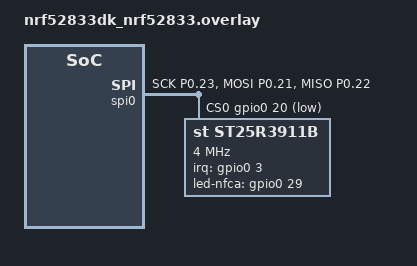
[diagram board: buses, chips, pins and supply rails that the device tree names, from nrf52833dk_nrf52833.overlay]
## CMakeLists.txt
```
#
# Copyright (c) 2020 Nordic Semiconductor ASA
#
# SPDX-License-Identifier: LicenseRef-Nordic-5-Clause
#

cmake_minimum_required(VERSION 3.20.0)

find_package(Zephyr REQUIRED HINTS $ENV{ZEPHYR_BASE})
project(NONE)

FILE(GLOB app_sources src/*.c)
# NORDIC SDK APP START
target_sources(app  PRIVATE ${app_sources})
# NORDIC SDK APP END

# Include configuration headers
zephyr_library_include_directories(configuration)
```

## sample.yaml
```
sample:
  description: Bluetooth Low Energy Central NFC Pairing reference sample
  name: Bluetooth Low Energy Central NFC Pairing reference
tests:
  sample.bluetooth.central_nfc_pairing:
    sysbuild: true
    build_only: true
    integration_platforms:
      - nrf5340dk/nrf5340/cpuapp
    platform_allow:
      - nrf5340dk/nrf5340/cpuapp
    tags:
      - bluetooth
      - ci_build
      - sysbuild
      - ci_samples_bluetooth
```

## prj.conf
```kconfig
#
# Copyright (c) 2020 Nordic Semiconductor
#
# SPDX-License-Identifier: LicenseRef-Nordic-5-Clause
#

CONFIG_NCS_SAMPLES_DEFAULTS=y

# Enable the BLE stack with GATT Client configuration
CONFIG_BT=y
CONFIG_BT_CENTRAL=y
CONFIG_BT_SMP=y
CONFIG_BT_SMP_SC_PAIR_ONLY=y
CONFIG_BT_GATT_CLIENT=y

# Enable the BLE modules from NCS
CONFIG_BT_SCAN=y
CONFIG_BT_SCAN_FILTER_ENABLE=y
CONFIG_BT_SCAN_ADDRESS_CNT=1
CONFIG_BT_DEVICE_NAME="Nordic_NFC_pairing"

CONFIG_BT_DIS=y
CONFIG_BT_DIS_MANUF_NAME=y
CONFIG_BT_DIS_MANUF_NAME_STR="NordicSemiconductor"
CONFIG_BT_DIS_PNP=y
CONFIG_BT_DIS_PNP_VID_SRC=2
CONFIG_BT_DIS_PNP_VID=0x1915
CONFIG_BT_DIS_PNP_PID=0xEEEC
CONFIG_BT_DIS_PNP_VER=0x0100

CONFIG_HEAP_MEM_POOL_SIZE=2048
CONFIG_SPI=y

CONFIG_ST25R3911B_LIB=y

#Condif NFC modules
CONFIG_NFC_NDEF=y
CONFIG_NFC_NDEF_RECORD=y
CONFIG_NFC_NDEF_TEXT_RECORD=y
CONFIG_NFC_NDEF_MSG=y
CONFIG_NFC_NDEF_PARSER=y
CONFIG_NFC_T2T_PARSER=y
CONFIG_NFC_T4T_HL_PROCEDURE=y
CONFIG_NFC_TNEP_POLLER=y
CONFIG_NFC_NDEF_LE_OOB_REC=y
CONFIG_NFC_NDEF_LE_OOB_REC_PARSER=y
CONFIG_NFC_NDEF_CH_MSG=y
CONFIG_NFC_TNEP_CH=y

CONFIG_POLL=y

# This example requires more workqueue stack
CONFIG_SYSTEM_WORKQUEUE_STACK_SIZE=2048

# Enable bonding
CONFIG_BT_SETTINGS=y
CONFIG_FLASH=y
CONFIG_FLASH_PAGE_LAYOUT=y
CONFIG_FLASH_MAP=y

# Config logger
CONFIG_LOG=y

CONFIG_DK_LIBRARY=y

CONFIG_ASSERT=y
CONFIG_HW_STACK_PROTECTION=y
```

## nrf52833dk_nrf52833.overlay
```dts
&spi0 {
	compatible = "nordic,nrf-spi";
	status = "okay";
	cs-gpios = <&gpio0 20 GPIO_ACTIVE_LOW>;

	pinctrl-0 = <&spi0_default_alt>;
	pinctrl-1 = <&spi0_sleep_alt>;
	pinctrl-names = "default", "sleep";

	st25r3911b@0 {
		compatible = "st,st25r3911b";
		reg = <0>;
		spi-max-frequency = <4000000>;
		irq-gpios = <&gpio0 3 GPIO_ACTIVE_HIGH>;
		led-nfca-gpios = <&gpio0 29 GPIO_ACTIVE_HIGH>;
	};
};

&spi1 {
	status = "disabled";
};

&spi2 {
	status = "disabled";
};

&spi3 {
	status = "disabled";
};

&pinctrl {
	spi0_default_alt: spi0_default_alt {
		group1 {
			psels = <NRF_PSEL(SPIM_SCK, 0, 23)>,
				<NRF_PSEL(SPIM_MOSI, 0, 21)>,
				<NRF_PSEL(SPIM_MISO, 0, 22)>;
		};
	};

	spi0_sleep_alt: spi0_sleep_alt {
		group1 {
			psels = <NRF_PSEL(SPIM_SCK, 0, 23)>,
				<NRF_PSEL(SPIM_MOSI, 0, 21)>,
				<NRF_PSEL(SPIM_MISO, 0, 22)>;
			low-power-enable;
		};
	};
};
```

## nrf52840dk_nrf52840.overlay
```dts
&spi0 {
	compatible = "nordic,nrf-spi";
	status = "okay";
	cs-gpios = <&gpio1 12 GPIO_ACTIVE_LOW>;

	pinctrl-0 = <&spi0_default_alt>;
	pinctrl-1 = <&spi0_sleep_alt>;
	pinctrl-names = "default", "sleep";

	st25r3911b@0 {
		compatible = "st,st25r3911b";
		reg = <0>;
		spi-max-frequency = <4000000>;
		irq-gpios = <&gpio0 3 GPIO_ACTIVE_HIGH>;
		led-nfca-gpios = <&gpio0 29 GPIO_ACTIVE_HIGH>;
	};
};

&spi1 {
	status = "disabled";
};

&spi2 {
	status = "disabled";
};

&spi3 {
	status = "disabled";
};

&pinctrl {
	spi0_default_alt: spi0_default_alt {
		group1 {
			psels = <NRF_PSEL(SPIM_SCK, 1, 15)>,
				<NRF_PSEL(SPIM_MOSI, 1, 13)>,
				<NRF_PSEL(SPIM_MISO, 1, 14)>;
		};
	};

	spi0_sleep_alt: spi0_sleep_alt {
		group1 {
			psels = <NRF_PSEL(SPIM_SCK, 1, 15)>,
				<NRF_PSEL(SPIM_MOSI, 1, 13)>,
				<NRF_PSEL(SPIM_MISO, 1, 14)>;
			low-power-enable;
		};
	};
};
```

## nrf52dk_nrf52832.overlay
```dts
&spi0 {
	compatible = "nordic,nrf-spi";
	status = "okay";
	cs-gpios = <&gpio0 22 GPIO_ACTIVE_LOW>;

	pinctrl-0 = <&spi0_default_alt>;
	pinctrl-1 = <&spi0_sleep_alt>;
	pinctrl-names = "default", "sleep";
	st25r3911b@0 {
		label = "ST25R3911B";
		compatible = "st,st25r3911b";
		reg = <0>;
		spi-max-frequency = <4000000>;
		irq-gpios = <&gpio0 3 GPIO_ACTIVE_HIGH>;
		led-nfca-gpios = <&gpio0 29 GPIO_ACTIVE_HIGH>;
	};
};

&spi1 {
	status = "disabled";
};

&spi2 {
	status = "disabled";
};

&pinctrl {
	spi0_default_alt: spi0_default_alt {
		group1 {
			psels = <NRF_PSEL(SPIM_SCK, 0, 25)>,
				<NRF_PSEL(SPIM_MOSI, 0, 23)>,
				<NRF_PSEL(SPIM_MISO, 0, 24)>;
		};
	};

	spi0_sleep_alt: spi0_sleep_alt {
		group1 {
			psels = <NRF_PSEL(SPIM_SCK, 0, 25)>,
				<NRF_PSEL(SPIM_MOSI, 0, 23)>,
				<NRF_PSEL(SPIM_MISO, 0, 24)>;
			low-power-enable;
		};
	};
};
```

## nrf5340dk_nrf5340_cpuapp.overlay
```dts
&spi1 {
	compatible = "nordic,nrf-spim";
	status = "okay";
	cs-gpios = <&gpio1 12 GPIO_ACTIVE_LOW>;

	pinctrl-0 = <&spi1_default_alt>;
	pinctrl-1 = <&spi1_sleep_alt>;
	pinctrl-names = "default", "sleep";
	st25r3911b@0 {
		compatible = "st,st25r3911b";
		reg = <0>;
		spi-max-frequency = <4000000>;
		irq-gpios = <&gpio0 4 GPIO_ACTIVE_HIGH>;
		led-nfca-gpios = <&gpio0 7 GPIO_ACTIVE_HIGH>;
	};
};

&pinctrl {
	spi1_default_alt: spi1_default_alt {
		group1 {
			psels = <NRF_PSEL(SPIM_SCK, 1, 15)>,
				<NRF_PSEL(SPIM_MOSI, 1, 13)>,
				<NRF_PSEL(SPIM_MISO, 1, 14)>;
		};
	};

	spi1_sleep_alt: spi1_sleep_alt {
		group1 {
			psels = <NRF_PSEL(SPIM_SCK, 1, 15)>,
				<NRF_PSEL(SPIM_MOSI, 1, 13)>,
				<NRF_PSEL(SPIM_MISO, 1, 14)>;
			low-power-enable;
		};
	};

};
```

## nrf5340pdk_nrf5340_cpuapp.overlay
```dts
&spi1 {
	compatible = "nordic,nrf-spim";
	status = "okay";
	sck-pin = <47>;
	mosi-pin = <45>;
	miso-pin = <46>;
	cs-gpios = <&gpio1 12 GPIO_ACTIVE_LOW>;

	st25r3911b@0 {
		label = "ST25R3911B";
		compatible = "st,st25r3911b";
		reg = <0>;
		spi-max-frequency = <4000000>;
		irq-gpios = <&gpio0 4 0>;
		led-nfca-gpios = <&gpio0 7 0>;
	};
};
```

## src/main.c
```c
/*
 * Copyright (c) 2020 Nordic Semiconductor ASA
 *
 * SPDX-License-Identifier: LicenseRef-Nordic-5-Clause
 */

/** @file
 *  @brief Nordic Central NFC pairing sample
 */

#include <zephyr/kernel.h>

#include <zephyr/bluetooth/bluetooth.h>
#include <zephyr/bluetooth/hci.h>
#include <zephyr/bluetooth/conn.h>
#include <zephyr/bluetooth/uuid.h>
#include <bluetooth/scan.h>

#include <nfc/tnep/ch.h>
#include <nfc/ndef/le_oob_rec_parser.h>

#include <st25r3911b_nfca.h>

#include <zephyr/settings/settings.h>

#include <dk_buttons_and_leds.h>

#include "nfc_poller.h"

#define NFC_NDEF_LE_OOB_REC_PARSER_BUFF_SIZE 150
#define K_POOL_EVENTS_CNT (ST25R3911B_NFCA_EVENT_CNT + 1)

#define KEY_BOND_REMOVE_MASK DK_BTN4_MSK
#define KEY_NFC_FIELD_ON_MASK DK_BTN3_MSK

static struct k_poll_signal pair_signal;
static struct k_poll_event events[K_POOL_EVENTS_CNT];

static bool use_remote_tk;
static struct bt_le_oob oob_local;
static uint8_t tk_value[NFC_NDEF_LE_OOB_REC_TK_LEN];
static uint8_t remote_tk_value[NFC_NDEF_LE_OOB_REC_TK_LEN];
static struct bt_le_oob oob_remote;
static struct bt_conn *default_conn;

static int tk_value_generate(void)
{
	int err;

	err = bt_rand(tk_value, sizeof(tk_value));
	if (err) {
		printk("Random TK value generation failed: %d\n", err);
	}

	return err;
}

static void pair_key_generate_init(void)
{
	k_poll_signal_init(&pair_signal);
	k_poll_event_init(&events[ST25R3911B_NFCA_EVENT_CNT],
			  K_POLL_TYPE_SIGNAL, K_POLL_MODE_NOTIFY_ONLY,
			  &pair_signal);
}

static int paring_key_generate(void)
{
	int err;

	printk("Generating new pairing keys.\n");

	err = bt_le_oob_get_local(BT_ID_DEFAULT, &oob_local);
	if (err) {
		printk("Error while fetching local OOB data: %d\n", err);
	}

	return tk_value_generate();
}

static void paring_key_process(void)
{
	int err;

	if (events[ST25R3911B_NFCA_EVENT_CNT].state == K_POLL_STATE_SIGNALED) {
		err = paring_key_generate();
		if (err) {
			printk("Pairing key generation error: %d\n", err);
		}

		k_poll_signal_reset(events[ST25R3911B_NFCA_EVENT_CNT].signal);
		events[ST25R3911B_NFCA_EVENT_CNT].state =
						K_POLL_STATE_NOT_READY;
	}
}

static void scan_filter_match(struct bt_scan_device_info *device_info,
			      struct bt_scan_filter_match *filter_match,
			      bool connectable)
{
	char addr[BT_ADDR_LE_STR_LEN];

	bt_addr_le_to_str(device_info->recv_info->addr, addr, sizeof(addr));

	printk("Filters matched. Address: %s connectable: %s\n",
		addr, connectable ? "yes" : "no");
}

static void scan_connecting_error(struct bt_scan_device_info *device_info)
{
	printk("Connecting failed\n");
}

static void scan_connecting(struct bt_scan_device_info *device_info,
			    struct bt_conn *conn)
{
	default_conn = bt_conn_ref(conn);
}

static void scan_filter_no_match(struct bt_scan_device_info *device_info,
				 bool connectable)
{
	int err;
	struct bt_conn *conn = NULL;
	char addr[BT_ADDR_LE_STR_LEN];

	if (device_info->recv_info->adv_type == BT_GAP_ADV_TYPE_ADV_DIRECT_IND) {
		bt_addr_le_to_str(device_info->recv_info->addr, addr, sizeof(addr));
		printk("Direct advertising received from %s\n", addr);
		bt_scan_stop();

		err = bt_conn_le_create(device_info->recv_info->addr,
					BT_CONN_LE_CREATE_CONN,
					device_info->conn_param, &conn);

		if (!err) {
			default_conn = bt_conn_ref(conn);
			bt_conn_unref(conn);
		}
	}
}

BT_SCAN_CB_INIT(scan_cb, scan_filter_match, scan_filter_no_match,
		scan_connecting_error, scan_connecting);


static void connected(struct bt_conn *conn, uint8_t conn_err)
{
	int err;
	char addr[BT_ADDR_LE_STR_LEN];

	bt_addr_le_to_str(bt_conn_get_dst(conn), addr, sizeof(addr));

	if (conn_err) {
		printk("Failed to connect to %s, 0x%02x %s\n", addr, conn_err,
		       bt_hci_err_to_str(conn_err));
		if (conn == default_conn) {
			bt_conn_unref(default_conn);
			default_conn = NULL;

			/* This demo doesn't require active scan */
			err = bt_scan_start(BT_SCAN_TYPE_SCAN_ACTIVE);
			if (err) {
				printk("Scanning failed to start (err %d)\n",
				       err);
			}
		}

		return;
	}

	printk("Connected: %s\n", addr);

	err = bt_conn_set_security(conn, BT_SECURITY_L2);
	if (err) {
		printk("Failed to set security: %d\n", err);
	}
}

static void disconnected(struct bt_conn *conn, uint8_t reason)
{
	char addr[BT_ADDR_LE_STR_LEN];

	bt_addr_le_to_str(bt_conn_get_dst(conn), addr, sizeof(addr));

	printk("Disconnected: %s, reason 0x%02x %s\n", addr, reason, bt_hci_err_to_str(reason));

	if (default_conn != conn) {
		return;
	}

	bt_conn_unref(default_conn);
	default_conn = NULL;
}

static void security_changed(struct bt_conn *conn, bt_security_t level,
			     enum bt_security_err err)
{
	char addr[BT_ADDR_LE_STR_LEN];

	bt_addr_le_to_str(bt_conn_get_dst(conn), addr, sizeof(addr));

	if (!err) {
		printk("Security changed: %s level %u\n", addr, level);
	} else {
		printk("Security failed: %s level %u err %d %s\n", addr, level, err,
		       bt_security_err_to_str(err));
	}
}

BT_CONN_CB_DEFINE(conn_callbacks) = {
	.connected = connected,
	.disconnected = disconnected,
	.security_changed = security_changed
};

static void scan_init(void)
{
	struct bt_scan_init_param scan_init = {
		.connect_if_match = 1,
		.scan_param = NULL,
		.conn_param = BT_LE_CONN_PARAM_DEFAULT
	};

	bt_scan_init(&scan_init);
	bt_scan_cb_register(&scan_cb);
}

static void lesc_oob_data_set(struct bt_conn *conn,
			      struct bt_conn_oob_info *oob_info)
{
	int err;
	char addr[BT_ADDR_LE_STR_LEN];
	struct bt_conn_info info;

	err = bt_conn_get_info(conn, &info);
	if (err) {
		return;
	}

	struct bt_le_oob_sc_data *oob_data_local =
		oob_info->lesc.oob_config != BT_CONN_OOB_REMOTE_ONLY
					  ? &oob_local.le_sc_data
					  : NULL;
	struct bt_le_oob_sc_data *oob_data_remote =
		oob_info->lesc.oob_config != BT_CONN_OOB_LOCAL_ONLY
					  ? &oob_remote.le_sc_data
					  : NULL;

	if (oob_data_remote &&
	    bt_addr_le_cmp(info.le.remote, &oob_remote.addr)) {
		bt_addr_le_to_str(info.le.remote, addr, sizeof(addr));
		printk("No OOB data available for remote %s", addr);
		bt_conn_auth_cancel(conn);
		return;
	}

	if (oob_data_local &&
	    bt_addr_le_cmp(info.le.local, &oob_local.addr)) {
		bt_addr_le_to_str(info.le.local, addr, sizeof(addr));
		printk("No OOB data available for local %s", addr);
		bt_conn_auth_cancel(conn);
		return;
	}

	err = bt_le_oob_set_sc_data(conn, oob_data_local, oob_data_remote);
	if (err) {
		printk("Error while setting OOB data: %d\n", err);
	}
}

static void legacy_tk_value_set(struct bt_conn *conn)
{
	int err;
	const uint8_t *tk = use_remote_tk ? remote_tk_value : tk_value;

	err = bt_le_oob_set_legacy_tk(conn, tk);
	if (err) {
		printk("TK value set error: %d\n", err);
	}

	use_remote_tk = false;
}

static void auth_oob_data_request(struct bt_conn *conn,
				  struct bt_conn_oob_info *info)
{
	if (info->type == BT_CONN_OOB_LE_SC) {
		printk("LESC OOB data requested\n");
		lesc_oob_data_set(conn, info);
	}

	if (info->type == BT_CONN_OOB_LE_LEGACY) {
		printk("Legacy TK value requested\n");
		legacy_tk_value_set(conn);
	}
}

static void auth_cancel(struct bt_conn *conn)
{
	char addr[BT_ADDR_LE_STR_LEN];

	bt_addr_le_to_str(bt_conn_get_dst(conn), addr, sizeof(addr));

	printk("Pairing cancelled: %s\n", addr);
}


static void pairing_complete(struct bt_conn *conn, bool bonded)
{
	char addr[BT_ADDR_LE_STR_LEN];

	bt_addr_le_to_str(bt_conn_get_dst(conn), addr, sizeof(addr));

	printk("Pairing completed: %s, bonded: %d\n", addr, bonded);

	k_poll_signal_raise(&pair_signal, 0);
	bt_le_oob_set_sc_flag(false);
	bt_le_oob_set_legacy_flag(false);
}


static void pairing_failed(struct bt_conn *conn, enum bt_security_err reason)
{
	char addr[BT_ADDR_LE_STR_LEN];

	bt_addr_le_to_str(bt_conn_get_dst(conn), addr, sizeof(addr));

	printk("Pairing failed conn: %s, reason %d %s\n", addr, reason,
	       bt_security_err_to_str(reason));

	k_poll_signal_raise(&pair_signal, 0);
	bt_le_oob_set_sc_flag(false);
	bt_le_oob_set_legacy_flag(false);
}

static struct bt_conn_auth_cb conn_auth_callbacks = {
	.cancel = auth_cancel,
	.oob_data_request = auth_oob_data_request,
};

static struct bt_conn_auth_info_cb conn_auth_info_callbacks = {
	.pairing_complete = pairing_complete,
	.pairing_failed = pairing_failed
};

static int check_oob_carrier(const struct nfc_tnep_ch_record *ch_record,
			     const struct nfc_ndef_record_desc **oob_data)
{
	const struct nfc_ndef_ch_ac_rec *ac_rec = NULL;

	if (!ch_record->count) {
		return -EINVAL;
	}

	for (size_t i = 0; i < ch_record->count; i++) {
		if (nfc_ndef_le_oob_rec_check(ch_record->carrier[i])) {
			*oob_data = ch_record->carrier[i];
		}
	}

	if (!oob_data) {
		printk("Connection Handover Requester not supporting OOB BLE\n");
		return -EINVAL;
	}

	/* Look for the corresponding Alternative Carrier Record. */
	for (size_t i = 0; i < ch_record->count; i++) {
		if (((*oob_data)->id_length == ch_record->ac[i].carrier_data_ref.length) &&
		    (memcmp((*oob_data)->id,
			    ch_record->ac[i].carrier_data_ref.data,
			    (*oob_data)->id_length) == 0)) {
			ac_rec = &ch_record->ac[i];
		}
	}

	if (!ac_rec) {
		printk("No Alternative Carrier Record for OOB LE carrier\n");
		return -EINVAL;
	}

	/* Check carrier state */
	if ((ac_rec->cps != NFC_AC_CPS_ACTIVE) &&
	    (ac_rec->cps != NFC_AC_CPS_ACTIVATING)) {
		printk("LE OBB Carrier inactive\n");
		return -EINVAL;
	}

	return 0;
}

static int oob_le_data_handle(const struct nfc_ndef_record_desc *rec,
			      bool request)
{
	int err;
	const struct nfc_ndef_le_oob_rec_payload_desc *oob;
	uint8_t desc_buf[NFC_NDEF_LE_OOB_REC_PARSER_BUFF_SIZE];
	uint32_t desc_buf_len = sizeof(desc_buf);

	err = nfc_ndef_le_oob_rec_parse(rec, desc_buf,
					&desc_buf_len);
	if (err) {
		printk("Error during NDEF LE OOB Record parsing, err: %d.\n",
			err);
	}

	oob = (struct nfc_ndef_le_oob_rec_payload_desc *) desc_buf;

	nfc_ndef_le_oob_rec_printout(oob);

	if ((*oob->le_role != NFC_NDEF_LE_OOB_REC_LE_ROLE_PERIPH_ONLY) &&
	    (*oob->le_role != NFC_NDEF_LE_OOB_REC_LE_ROLE_PERIPH_PREFFERED)) {
		printk("Unsupported Device LE Role\n");
		return -EINVAL;
	}

	if (oob->le_sc_data) {
		bt_le_oob_set_sc_flag(true);
		oob_remote.le_sc_data = *oob->le_sc_data;
		bt_addr_le_copy(&oob_remote.addr, oob->addr);
	}

	if (oob->tk_value) {
		bt_le_oob_set_legacy_flag(true);
		memcpy(remote_tk_value, oob->tk_value, sizeof(remote_tk_value));
		use_remote_tk = request;
	}

	/* Remove all scanning filters. */
	bt_scan_filter_remove_all();

	err = bt_scan_filter_add(BT_SCAN_FILTER_TYPE_ADDR, oob->addr);
	if (err) {
		printk("Set filter on device address error: %d\n", err);
	}

	err = bt_scan_filter_enable(BT_SCAN_ADDR_FILTER, false);
	if (err) {
		return err;
	}

	return bt_scan_start(BT_SCAN_TYPE_SCAN_ACTIVE);
}

/** .. include_startingpoint_nfc_tnep_ch_poller_rst */
static int carrier_prepare(void)
{
	static struct nfc_ndef_le_oob_rec_payload_desc rec_payload;

	NFC_NDEF_LE_OOB_RECORD_DESC_DEF(oob_rec, '0', &rec_payload);
	NFC_NDEF_CH_AC_RECORD_DESC_DEF(oob_ac, NFC_AC_CPS_ACTIVE, 1, "0", 0);

	memset(&rec_payload, 0, sizeof(rec_payload));

	rec_payload.addr = &oob_local.addr;
	rec_payload.le_sc_data = &oob_local.le_sc_data;
	rec_payload.tk_value = tk_value;
	rec_payload.local_name = bt_get_name();
	rec_payload.le_role = NFC_NDEF_LE_OOB_REC_LE_ROLE(
		NFC_NDEF_LE_OOB_REC_LE_ROLE_CENTRAL_ONLY);
	rec_payload.appearance = NFC_NDEF_LE_OOB_REC_APPEARANCE(
		CONFIG_BT_DEVICE_APPEARANCE);
	rec_payload.flags = NFC_NDEF_LE_OOB_REC_FLAGS(BT_LE_AD_NO_BREDR);

	return nfc_tnep_ch_carrier_set(&NFC_NDEF_CH_AC_RECORD_DESC(oob_ac),
				       &NFC_NDEF_LE_OOB_RECORD_DESC(oob_rec),
				       1);
}

static int tnep_ch_request_prepare(void)
{
	return carrier_prepare();
}

static int tnep_ch_select_received(const struct nfc_tnep_ch_record *ch_select,
				   bool inactive)
{
	int err;
	const struct nfc_ndef_record_desc *oob_data = NULL;

	if (!ch_select->count) {
		return -EINVAL;
	}

	/* All alternative carrier are inactive */
	if (inactive) {
		/* Try send request again. */
		return carrier_prepare();
	}

	err = check_oob_carrier(ch_select, &oob_data);
	if (err) {
		return err;
	}

	err = oob_le_data_handle(oob_data, false);
	if (err) {
		return err;
	}

	return 0;

}

static int tnep_ch_request_received(const struct nfc_tnep_ch_request *ch_req)
{
	int err;
	const struct nfc_ndef_record_desc *oob_data = NULL;

	if (!ch_req->ch_record.count) {
		return -EINVAL;
	}

	err = check_oob_carrier(&ch_req->ch_record, &oob_data);
	if (err) {
		return err;
	}

	err = oob_le_data_handle(oob_data, true);
	if (err) {
		return err;
	}

	return carrier_prepare();
}

static struct nfc_tnep_ch_cb ch_cb = {
	.request_msg_prepare = tnep_ch_request_prepare,
	.select_msg_recv = tnep_ch_select_received,
	.request_msg_recv = tnep_ch_request_received
};
/** .. include_endpoint_nfc_tnep_ch_poller_rst */

static void nfc_poller_non_tnep_msg_parse(struct nfc_ndef_msg_desc *ndef_msg)
{
	int err;
	const struct nfc_ndef_record_desc *oob_data = NULL;

	if (!ndef_msg->record_count) {
		return;
	}

	for (size_t i = 0; i < ndef_msg->record_count; i++) {
		if (nfc_ndef_le_oob_rec_check(ndef_msg->record[i])) {
			oob_data = ndef_msg->record[i];
		}
	}

	err = oob_le_data_handle(oob_data, true);
	if (err) {
		printk("OOB data handle error: %d\n", err);
	}
}

void button_changed(uint32_t button_state, uint32_t has_changed)
{
	int err;
	uint32_t buttons = button_state & has_changed;

	if (buttons & KEY_BOND_REMOVE_MASK) {
		err = bt_unpair(BT_ID_DEFAULT, NULL);
		if (err) {
			printk("Bond remove failed err: %d\n", err);
		} else {
			printk("All bond removed\n");
		}

		if (!nfc_poller_field_active()) {
			err = st25r3911b_nfca_field_on();
			if (err) {
				printk("NFC Field on error: %d\n", err);
			}
		}
	}

	if (buttons & KEY_NFC_FIELD_ON_MASK) {
		if (!nfc_poller_field_active()) {
			err = st25r3911b_nfca_field_on();
			if (err) {
				printk("NFC Field on error: %d\n", err);
			}
		} else {
			printk("NFC TNEP Device is busy now. Please try after finish current NFC operation\n");
		}
	}
}

int main(void)
{
	int err;

	printk("Starting NFC Central Pairing sample\n");

	/* Configure buttons */
	err = dk_buttons_init(button_changed);
	if (err) {
		printk("Cannot init buttons (err %d\n", err);
	}

	err = bt_enable(NULL);
	if (err) {
		printk("Bluetooth init failed (err %d)\n", err);
		return 0;
	}

	printk("Bluetooth initialized\n");

	if (IS_ENABLED(CONFIG_SETTINGS)) {
		settings_load();
	}

	scan_init();

	err = bt_conn_auth_cb_register(&conn_auth_callbacks);
	if (err) {
		printk("Failed to register authorization callbacks.\n");
		return 0;
	}

	err = bt_conn_auth_info_cb_register(&conn_auth_info_callbacks);
	if (err) {
		printk("Failed to register authorization info callbacks.\n");
		return 0;
	}

	err = paring_key_generate();
	if (err) {
		return 0;
	}

	err = nfc_tnep_ch_service_init(&ch_cb);
	if (err) {
		printk("Connection Handover service initialization error: %d\n",
		       err);
	}

	pair_key_generate_init();

	err = nfc_poller_init(events, nfc_poller_non_tnep_msg_parse);
	if (err) {
		printk("NFC Poller initialization error: %d\n", err);
	}

	for (;;) {
		k_poll(events, ARRAY_SIZE(events), K_FOREVER);
		err = nfc_poller_process();
		if (err) {
			return 0;
		}
		paring_key_process();
	}
}
```

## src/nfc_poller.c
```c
/*
 * Copyright (c) 2020 Nordic Semiconductor ASA
 *
 * SPDX-License-Identifier: LicenseRef-Nordic-5-Clause
 */

#include <stddef.h>
#include <stdbool.h>
#include <string.h>

#include <zephyr/sys/printk.h>
#include <zephyr/sys/byteorder.h>
#include <zephyr/zephyr.h>
#include <zephyr/types.h>

#include <nfc/t2t/parser.h>

#include <nfc/t4t/isodep.h>
#include <nfc/t4t/hl_procedure.h>
#include <nfc/t4t/ndef_file.h>

#include <nfc/ndef/msg_parser.h>
#include <nfc/ndef/text_rec.h>
#include <nfc/ndef/ch_msg.h>
#include <nfc/ndef/le_oob_rec.h>

#include <nfc/tnep/poller.h>
#include <nfc/tnep/ch.h>

#include <st25r3911b_nfca.h>

#include "nfc_poller.h"

#define TNEP_SVC_CNT 2

#define NFCA_BD 128
#define BITS_IN_BYTE 8
#define NFCA_T2T_BUFFER_SIZE 1024
#define NFCA_LAST_BIT_MASK 0x80
#define NFCA_FDT_ALIGN_84 84
#define NFCA_FDT_ALIGN_20 20

#define NFC_T2T_READ_CMD 0x30
#define NFC_T2T_READ_CMD_LEN 0x02

#define T2T_MAX_DATA_EXCHANGE 16
#define TAG_TYPE_2_DATA_AREA_MULTIPLICATOR 8
#define TAG_TYPE_2_DATA_AREA_SIZE_OFFSET (NFC_T2T_CC_BLOCK_OFFSET + 2)
#define TAG_TYPE_2_BLOCKS_PER_EXCHANGE \
	(T2T_MAX_DATA_EXCHANGE / NFC_T2T_BLOCK_SIZE)

#define NFC_TNEP_DATA_SIZE 256
#define NFC_TNEP_SVC_NAME_MAX_LEN 30

#define MAX_TLV_BLOCKS 10
#define MAX_NDEF_RECORDS 10

#define NFC_T4T_ISODEP_FSD 256
#define NFC_T4T_ISODEP_RX_DATA_MAX_SIZE 1024
#define NFC_T4T_APDU_MAX_SIZE 1024

#define NFC_TX_DATA_LEN NFC_T4T_ISODEP_FSD
#define NFC_RX_DATA_LEN NFC_T4T_ISODEP_FSD

#define TRANSMIT_DELAY 3000
#define ALL_REQ_DELAY 2000

static uint8_t tx_data[NFC_TX_DATA_LEN];
static uint8_t rx_data[NFC_RX_DATA_LEN];

static struct k_work_delayable transmit_work;
static ndef_recv_cb_t ndef_cb;

NFC_T4T_CC_DESC_DEF(t4t_cc, MAX_TLV_BLOCKS);

static uint8_t tnep_tx_data[NFC_TNEP_DATA_SIZE];
static uint8_t tnep_rx_data[NFC_TNEP_DATA_SIZE];

static const struct nfc_tnep_buf tnep_tx_buf = {
	.data = tnep_tx_data,
	.size = sizeof(tnep_tx_data)
};

static struct nfc_tnep_buf tnep_rx_buf = {
	.data = tnep_rx_data,
	.size = sizeof(tnep_rx_data)
};

static struct st25r3911b_nfca_buf tx_buf = {
	.data = tx_data,
	.len = sizeof(tx_data)
};

static const struct st25r3911b_nfca_buf rx_buf = {
	.data = rx_data,
	.len = sizeof(rx_data)
};

struct t4t_tag {
	uint8_t data[NFC_T4T_ISODEP_RX_DATA_MAX_SIZE];
	uint8_t ndef[MAX_TLV_BLOCKS][NFC_T4T_APDU_MAX_SIZE];
	uint8_t tlv_index;
};

enum t2t_state {
	T2T_IDLE,
	T2T_HEADER_READ,
	T2T_DATA_READ
};

struct t2t_tag {
	enum t2t_state state;
	uint16_t data_bytes;
	uint8_t data[NFCA_T2T_BUFFER_SIZE];
};

static enum nfc_tnep_tag_type tag_type;
static struct t2t_tag t2t;
static struct t4t_tag t4t;
static struct nfc_ndef_tnep_rec_svc_param services[TNEP_SVC_CNT];
static const struct nfc_ndef_tnep_rec_svc_param *ch_svc;
static uint32_t tnep_msg_max_size;
static bool tnep_mode;
static bool field_on;

static void nfc_tag_detect(bool all_request)
{
	int err;
	enum st25r3911b_nfca_detect_cmd cmd;

	tag_type = NFC_TNEP_TAG_TYPE_UNSUPPORTED;
	tnep_mode = false;

	cmd = all_request ? ST25R3911B_NFCA_DETECT_CMD_ALL_REQ :
		ST25R3911B_NFCA_DETECT_CMD_SENS_REQ;

	err = st25r3911b_nfca_tag_detect(cmd);
	if (err) {
		printk("Tag detect error: %d.\n", err);
	}
}

static int ftd_calculate(uint8_t *data, size_t len)
{
	uint8_t ftd_align;

	ftd_align = (data[len - 1] & NFCA_LAST_BIT_MASK) ?
		NFCA_FDT_ALIGN_84 : NFCA_FDT_ALIGN_20;

	return len * NFCA_BD * BITS_IN_BYTE + ftd_align;
}

static int nfc_t2t_read_block_cmd_make(uint8_t *tx_data,
				       size_t tx_data_size,
				       uint8_t block_num)
{
	if (!tx_data) {
		return -EINVAL;
	}

	if (tx_data_size < NFC_T2T_READ_CMD_LEN) {
		return -ENOMEM;
	}

	tx_data[0] = NFC_T2T_READ_CMD;
	tx_data[1] = block_num;

	return 0;
}

static int t2t_header_read(void)
{
	int err;
	int ftd;

	err = nfc_t2t_read_block_cmd_make(tx_data, sizeof(tx_data), 0);
	if (err) {
		return err;
	}

	tx_buf.data = tx_data;
	tx_buf.len = NFC_T2T_READ_CMD_LEN;

	ftd = ftd_calculate(tx_data, NFC_T2T_READ_CMD_LEN);

	t2t.state = T2T_HEADER_READ;

	err = st25r3911b_nfca_transfer_with_crc(&tx_buf, &rx_buf, ftd);

	return err;
}

static void ndef_data_analyze(const uint8_t *ndef_msg_buff, size_t nfc_data_len)
{
	int  err;
	struct nfc_ndef_msg_desc *ndef_msg_desc;
	uint8_t desc_buf[NFC_NDEF_PARSER_REQUIRED_MEM(MAX_NDEF_RECORDS)];
	size_t desc_buf_len = sizeof(desc_buf);

	err = nfc_ndef_msg_parse(desc_buf,
				 &desc_buf_len,
				 ndef_msg_buff,
				 &nfc_data_len);
	if (err) {
		printk("Error during parsing a NDEF message, err: %d.\n", err);
	}

	ndef_msg_desc = (struct nfc_ndef_msg_desc *) desc_buf;

	if (ndef_cb) {
		ndef_cb(ndef_msg_desc);
	}
}

static void t2t_data_read_complete(uint8_t *data)
{
	int err;

	if (!data) {
		printk("No T2T data read.\n");
		return;
	}

	/* Declaration of Type 2 Tag structure. */
	NFC_T2T_DESC_DEF(tag_data, MAX_TLV_BLOCKS);
	struct nfc_t2t *t2t = &NFC_T2T_DESC(tag_data);

	err = nfc_t2t_parse(t2t, data);
	if (err) {
		printk("Not enough memory to read whole tag. Printing what have been read.\n");
	}

	nfc_t2t_printout(t2t);

	struct nfc_t2t_tlv_block *tlv_block = t2t->tlv_block_array;

	for (size_t i = 0; i < t2t->tlv_count; i++) {
		if (tlv_block->tag == NFC_T2T_TLV_NDEF_MESSAGE) {
			ndef_data_analyze(tlv_block->value, tlv_block->length);
			tlv_block++;
		}
	}

	st25r3911b_nfca_tag_sleep();
}

static int t2t_on_data_read(const uint8_t *data, size_t data_len,
			    void (*t2t_read_complete)(uint8_t *))
{
	int err;
	int ftd;
	uint8_t block_to_read;
	uint16_t offset = 0;
	static uint8_t block_num;

	block_to_read = t2t.data_bytes / NFC_T2T_BLOCK_SIZE;
	offset = block_num * NFC_T2T_BLOCK_SIZE;

	memcpy(t2t.data + offset, data, data_len);

	block_num += TAG_TYPE_2_BLOCKS_PER_EXCHANGE;

	if (block_num > block_to_read) {
		block_num = 0;
		t2t.state = T2T_IDLE;

		if (t2t_read_complete) {
			t2t_read_complete(t2t.data);
		}

		return 0;
	}

	err = nfc_t2t_read_block_cmd_make(tx_data, sizeof(tx_data), block_num);
	if (err) {
		return err;
	}

	tx_buf.data = tx_data;
	tx_buf.len = NFC_T2T_READ_CMD_LEN;

	ftd = ftd_calculate(tx_data, NFC_T2T_READ_CMD_LEN);

	err = st25r3911b_nfca_transfer_with_crc(&tx_buf, &rx_buf, ftd);

	return err;
}

static int on_t2t_transfer_complete(const uint8_t *data, size_t len)
{
	switch (t2t.state) {
	case T2T_HEADER_READ:
		t2t.data_bytes = TAG_TYPE_2_DATA_AREA_MULTIPLICATOR *
				 data[TAG_TYPE_2_DATA_AREA_SIZE_OFFSET];

		if ((t2t.data_bytes + NFC_T2T_FIRST_DATA_BLOCK_OFFSET) >
		    sizeof(t2t.data)) {
			return -ENOMEM;
		}

		t2t.state = T2T_DATA_READ;

		return t2t_on_data_read(data, len, t2t_data_read_complete);

	case T2T_DATA_READ:
		return t2t_on_data_read(data, len, t2t_data_read_complete);

	default:
		return -EFAULT;
	}
}

static bool tnep_data_search(const uint8_t *ndef_msg_buff, size_t nfc_data_len)
{
	int  err;
	uint8_t desc_buf[NFC_NDEF_PARSER_REQUIRED_MEM(MAX_NDEF_RECORDS)];
	size_t desc_buf_len = sizeof(desc_buf);
	uint8_t cnt = ARRAY_SIZE(services);

	err = nfc_ndef_msg_parse(desc_buf,
				 &desc_buf_len,
				 ndef_msg_buff,
				 &nfc_data_len);
	if (err) {
		printk("Error during parsing a NDEF message, err: %d.\n", err);
		return false;
	}

	err = nfc_tnep_poller_svc_search((struct nfc_ndef_msg_desc *) desc_buf,
					 services, &cnt);
	if (err) {
		printk("Service search err: %d\n", err);
		return false;
	}

	printk("TNEP Service count: %u\n", cnt);

	if (cnt > 0) {
		ch_svc = nfc_tnep_ch_svc_search(services, cnt);
		if (ch_svc) {
			printk("TNEP Connection Handover service found.\n");
			tnep_mode = true;

			return true;
		}
	}

	if (ndef_cb) {
		ndef_cb((struct nfc_ndef_msg_desc *) desc_buf);
	}

	return false;
}

static void transfer_handler(struct k_work *work)
{
	nfc_tag_detect(false);
}

static int tnep_ndef_read(uint8_t *ndef_buff, uint16_t ndef_len)
{
	return nfc_t4t_hl_procedure_ndef_read(&NFC_T4T_CC_DESC(t4t_cc),
					      ndef_buff, ndef_len);
}

static int tnep_ndef_update(const uint8_t *ndef_buff, uint16_t ndef_len)
{
	return nfc_t4t_hl_procedure_ndef_update(&NFC_T4T_CC_DESC(t4t_cc),
						(uint8_t *)ndef_buff, ndef_len);
}

static struct nfc_tnep_poller_ndef_api tnep_ndef_api = {
	.ndef_read = tnep_ndef_read,
	.ndef_update = tnep_ndef_update
};

static void nfc_field_on(void)
{
	field_on = true;

	printk("NFC field on.\n");

	nfc_tag_detect(false);
}

static void nfc_timeout(bool tag_sleep)
{
	if (tag_type == NFC_TNEP_TAG_TYPE_T4T) {
		nfc_t4t_isodep_on_timeout();

		return;
	}

	/* Sleep will block processing loop. Accepted as it is short. */
	k_sleep(K_MSEC(ALL_REQ_DELAY));

	nfc_tag_detect(true);
}

static void nfc_field_off(void)
{
	field_on = false;

	printk("NFC field off.\n");
}

static void tag_detected(const struct st25r3911b_nfca_sens_resp *sens_resp)
{
	int err;

	printk("Anticollision: 0x%x Platform: 0x%x.\n",
		sens_resp->anticollison,
		sens_resp->platform_info);

	err = st25r3911b_nfca_anticollision_start();
	if (err) {
		printk("Anticollision error: %d.\n", err);
	}
}

static void anticollision_completed(const struct st25r3911b_nfca_tag_info *tag_info,
				    int err)
{
	if (err) {
		printk("Error during anticollision avoidance.\n");

		nfc_tag_detect(false);

		return;
	}

	printk("Tag info, type: %d.\n", tag_info->type);

	if (tag_info->type == ST25R3911B_NFCA_TAG_TYPE_T2T) {
		printk("Type 2 Tag.\n");

		tag_type = NFC_TNEP_TAG_TYPE_T2T;

		err = t2t_header_read();
		if (err) {
			printk("Type 2 Tag data read error %d.\n", err);
		}
	} else if (tag_info->type == ST25R3911B_NFCA_TAG_TYPE_T4T) {
		printk("Type 4 Tag.\n");

		tag_type = NFC_TNEP_TAG_TYPE_T4T;

		err = nfc_tnep_poller_api_set(&tnep_ndef_api,
					      NFC_TNEP_TAG_TYPE_T4T);
		if (err) {
			printk("TNEP API set error: %d\n", err);
			return;
		}

		/* Send RATS command */
		err = nfc_t4t_isodep_rats_send(NFC_T4T_ISODEP_FSD_256, 0);
		if (err) {
			printk("Type 4 Tag RATS sending error %d.\n", err);
		}
	} else {
		printk("Unsupported tag type.\n");

		tag_type = NFC_TNEP_TAG_TYPE_UNSUPPORTED;

		nfc_tag_detect(false);

		return;
	}
}

static void transfer_completed(const uint8_t *data, size_t len, int err)
{
	if (err) {
		printk("NFC Transfer error: %d.\n", err);
		return;
	}

	switch (tag_type) {
	case NFC_TNEP_TAG_TYPE_T2T:
		err = on_t2t_transfer_complete(data, len);
		if (err) {
			printk("NFC-A T2T read error: %d.\n", err);
		}

		break;

	case NFC_TNEP_TAG_TYPE_T4T:
		err = nfc_t4t_isodep_data_received(data, len, err);
		if (err) {
			printk("NFC-A T4T read error: %d.\n", err);
		}

		break;

	default:
		break;
	}
}

static void tag_sleep(void)
{
	int err;

	printk("Tag entered the Sleep state.\n");

	err = st25r3911b_nfca_field_off();
	if (err) {
		printk("NFC Field off error: %d\n", err);
	}
}

static const struct st25r3911b_nfca_cb cb = {
	.field_on = nfc_field_on,
	.field_off = nfc_field_off,
	.tag_detected = tag_detected,
	.anticollision_completed = anticollision_completed,
	.rx_timeout = nfc_timeout,
	.transfer_completed = transfer_completed,
	.tag_sleep = tag_sleep
};

static void t4t_isodep_selected(const struct nfc_t4t_isodep_tag *t4t_tag)
{
	int err;

	printk("NFC T4T selected.\n");

	if ((t4t_tag->lp_divisor != 0) &&
	    (t4t_tag->lp_divisor != t4t_tag->pl_divisor)) {
		printk("Unsupported bitrate divisor by Reader/Writer.\n");
	}

	err = nfc_t4t_hl_procedure_ndef_tag_app_select();
	if (err) {
		printk("NFC T4T app select err %d.\n", err);
		return;
	}
}

static void t4t_isodep_error(int err)
{
	printk("ISO-DEP Protocol error %d.\n", err);

	nfc_tag_detect(false);
}

static void t4t_isodep_data_send(uint8_t *data, size_t data_len, uint32_t ftd)
{
	int err;

	tx_buf.data = data;
	tx_buf.len = data_len;

	err = st25r3911b_nfca_transfer_with_crc(&tx_buf, &rx_buf, ftd);
	if (err) {
		printk("NFC T4T ISO-DEP transfer error: %d.\n", err);
	}
}

static void t4t_isodep_received(const uint8_t *data, size_t data_len)
{
	int err;

	err = nfc_t4t_hl_procedure_on_data_received(data, data_len);
	if (err) {
		printk("NFC Type 4 Tag HL data received error: %d.\n", err);
	}
}

static void t4t_isodep_deselected(void)
{
	st25r3911b_nfca_tag_sleep();
}

static const struct nfc_t4t_isodep_cb t4t_isodep_cb = {
	.selected = t4t_isodep_selected,
	.deselected = t4t_isodep_deselected,
	.error = t4t_isodep_error,
	.ready_to_send = t4t_isodep_data_send,
	.data_received = t4t_isodep_received
};

static void t4t_hl_selected(enum nfc_t4t_hl_procedure_select type)
{
	int err = 0;

	switch (type) {
	case NFC_T4T_HL_PROCEDURE_NDEF_APP_SELECT:
		printk("NFC T4T NDEF Application selected.\n");

		err = nfc_t4t_hl_procedure_cc_select();
		if (err) {
			printk("NFC T4T Capability Container select error: %d.\n",
				err);
		}

		break;

	case NFC_T4T_HL_PROCEDURE_CC_SELECT:
		printk("NFC T4T Capability Container file selected.\n");

		err = nfc_t4t_hl_procedure_cc_read(&NFC_T4T_CC_DESC(t4t_cc));
		if (err) {
			printk("Capability Container read error: %d.\n", err);
		}

		break;

	case NFC_T4T_HL_PROCEDURE_NDEF_FILE_SELECT:
		if (tnep_mode) {
			printk("NFC T4T NDEF file contains the TNEP Initial Message selected.\n");

			err = nfc_tnep_poller_svc_select(&tnep_rx_buf,
							 ch_svc,
							 tnep_msg_max_size);
			if (err) {
				printk("Service select err: %d\n", err);
			}

			return;
		}

		printk("NFC T4T NDEF file selected.\n");

		err = nfc_t4t_hl_procedure_ndef_read(&NFC_T4T_CC_DESC(t4t_cc),
						     t4t.ndef[t4t.tlv_index],
						     NFC_T4T_APDU_MAX_SIZE);
		if (err) {
			printk("NFC T4T NDEF file read error %d.\n", err);
		}

		break;

	default:
		break;
	}

	if (err) {
		st25r3911b_nfca_tag_sleep();

		k_work_reschedule(&transmit_work, K_MSEC(TRANSMIT_DELAY));
	}
}

static void t4t_hl_cc_read(struct nfc_t4t_cc_file *cc)
{
	int err;
	struct nfc_t4t_tlv_block *tlv_block;

	printk("NFC T4T Capability Container file read.\n");

	for (size_t i = 0; i < cc->tlv_count; i++) {
		tlv_block = &cc->tlv_block_array[i];

		if ((tlv_block->type == NFC_T4T_TLV_BLOCK_TYPE_NDEF_FILE_CONTROL_TLV) &&
		    (tlv_block->value.read_access == NFC_T4T_TLV_BLOCK_CONTROL_FILE_READ_ACCESS_GRANTED)) {
			err = nfc_t4t_hl_procedure_ndef_file_select(tlv_block->value.file_id);
			if (err) {
				printk("NFC T4T NDEF file select error: %d.\n",
				       err);
			}

			return;
		}
	}

	printk("No NDEF File TLV in Capability Container.");
}

static void t4t_hl_ndef_read(uint16_t file_id, const uint8_t *data, size_t len)
{
	int err;
	struct nfc_t4t_cc_file *cc;
	struct nfc_t4t_tlv_block *tlv_block;

	printk("NDEF file read, id: 0x%x.\n", file_id);

	if (tnep_mode) {
		err = nfc_tnep_poller_on_ndef_read(nfc_t4t_ndef_file_msg_get(data),
						   nfc_t4t_ndef_file_msg_size_get(len));
		if (err) {
			printk("TNEP Read data error: %d\n", err);
		}

		return;
	}

	t4t.tlv_index++;
	cc = &NFC_T4T_CC_DESC(t4t_cc);

	for (size_t i = t4t.tlv_index; i < cc->tlv_count; i++) {
		tlv_block = &cc->tlv_block_array[i];

		if ((tlv_block->type == NFC_T4T_TLV_BLOCK_TYPE_NDEF_FILE_CONTROL_TLV) &&
		    (tlv_block->value.read_access == NFC_T4T_TLV_BLOCK_CONTROL_FILE_READ_ACCESS_GRANTED)) {

			err = nfc_t4t_hl_procedure_ndef_file_select(tlv_block->value.file_id);
			if (err) {
				printk("NFC T4T NDEF file select error: %d.\n",
				       err);
			}

			return;
		}

		t4t.tlv_index++;
	}

	t4t.tlv_index = 0;

	nfc_t4t_cc_file_printout(cc);

	tlv_block = cc->tlv_block_array;
	for (size_t i = 0; i < cc->tlv_count; i++) {
		if ((tlv_block[i].type == NFC_T4T_TLV_BLOCK_TYPE_NDEF_FILE_CONTROL_TLV) ||
		    (tlv_block[i].value.file.content != NULL)) {
			/* Look for first message contains TNEP Service
			 * Parameter Records.
			 */
			if (tnep_data_search(nfc_t4t_ndef_file_msg_get(tlv_block[i].value.file.content),
					     nfc_t4t_ndef_file_msg_size_get(tlv_block[i].value.file.len))) {
				tnep_msg_max_size = tlv_block[i].value.max_file_size;

				/* In case when NFC Tag device contains more
				 * than one NDEF Message, select the
				 * NDEF file which contains it.
				 */
				err = nfc_t4t_hl_procedure_ndef_file_select(tlv_block->value.file_id);
				if (err) {
					printk("TNEP Initial NDEF Message select error: %d.\n",
					       err);
				}

				return;
			}
		}
	}

	err = nfc_t4t_isodep_tag_deselect();
	if (err) {
		printk("NFC T4T Deselect error: %d.\n", err);
	}
}

static void t4t_hl_ndef_update(uint16_t file_id)
{
	if (tnep_mode) {
		nfc_tnep_poller_on_ndef_write();
	}
}

static const struct nfc_t4t_hl_procedure_cb t4t_hl_procedure_cb = {
	.selected = t4t_hl_selected,
	.cc_read = t4t_hl_cc_read,
	.ndef_read = t4t_hl_ndef_read,
	.ndef_updated = t4t_hl_ndef_update
};

void tnep_svc_deselected(void)
{
	int err;

	printk("TNEP Service deselected.\n");

	err = nfc_t4t_isodep_tag_deselect();
	if (err) {
		printk("NFC T4T Deselect error: %d.\n", err);
	}
}

void tnep_error(int err)
{
	printk("TNEP error: %d.\n", err);
}

static struct nfc_tnep_poller_cb tnep_cb = {
	.svc_deselected = tnep_svc_deselected,
	.error = tnep_error
};

int nfc_poller_init(struct k_poll_event *events, ndef_recv_cb_t ndef_recv_cb)
{
	int err;

	if (!events || !ndef_recv_cb) {
		return -EINVAL;
	}

	ndef_cb = ndef_recv_cb;

	nfc_t4t_hl_procedure_cb_register(&t4t_hl_procedure_cb);
	k_work_init_delayable(&transmit_work, transfer_handler);
	nfc_tnep_poller_cb_register(&tnep_cb);

	err = nfc_tnep_poller_init(&tnep_tx_buf);
	if (err) {
		printk("NFC TNEP Protocol initialization err: %d\n", err);
		return err;
	}

	err = nfc_t4t_isodep_init(tx_data, sizeof(tx_data),
				  t4t.data, sizeof(t4t.data),
				  &t4t_isodep_cb);
	if (err) {
		printk("NFC T4T ISO-DEP Protocol initialization failed err: %d.\n",
		       err);
		return err;
	}

	err = st25r3911b_nfca_init(events, ST25R3911B_NFCA_EVENT_CNT, &cb);
	if (err) {
		printk("NFCA initialization failed err: %d.\n", err);
		return err;
	}

	err = st25r3911b_nfca_field_on();
	if (err) {
		printk("Field on error %d.", err);
		return err;
	}

	return 0;
}

int nfc_poller_process(void)
{
	return st25r3911b_nfca_process();
}

bool nfc_poller_field_active(void)
{
	return field_on;
}
```

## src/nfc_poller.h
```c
/*
 * Copyright (c) 2020 Nordic Semiconductor ASA
 *
 * SPDX-License-Identifier: LicenseRef-Nordic-5-Clause
 */

#ifndef NFC_POLLER_H_
#define NFC_POLLER_H_

#include <zephyr/kernel.h>
#include <nfc/ndef/msg.h>

#ifdef _cplusplus
extern "C" {
#endif

/**@brief Non_TNEP message received callback.
 *
 * This callback is used when the NFC Tag which not supported TNEP
 * was read.
 *
 * @param[in] ndef_msg Pointer to received non-TNEP NDEF message.
 */
typedef void (*ndef_recv_cb_t)(struct nfc_ndef_msg_desc *ndef_msg);

/**@brief Initialize the NFC Poller Device.
 *
 * @param[in] events NFC Poller events. This device needs a least two free
 *                   events.
 * @param[in] ndef_recv_cb Non-TNEP message received callback.
 *
 * @retval 0 If the operation was successful.
 *         Otherwise, a (negative) error code is returned.
 */
int nfc_poller_init(struct k_poll_event *events, ndef_recv_cb_t ndef_recv_cb);

/**@brief Proccess the NFC Poller Device.
 *
 * @retval 0 If the operation was successful.
 *         Otherwise, a (negative) error code is returned.
 */
int nfc_poller_process(void);

/**@brief Check the NFC Device field status.
 *
 * @retval True If field is on.
 *         Otherwise, a false is returned.
 */
bool nfc_poller_field_active(void);

#ifdef _cplusplus
}
#endif

#endif /* NFC_POLLER_H_ */
```
